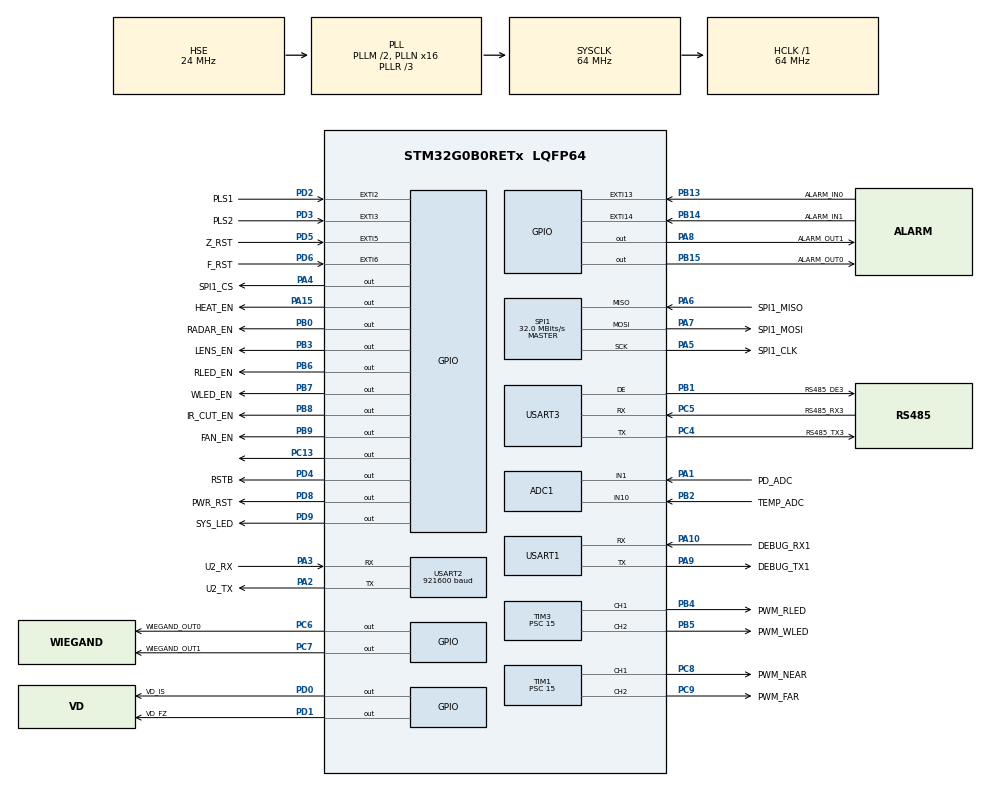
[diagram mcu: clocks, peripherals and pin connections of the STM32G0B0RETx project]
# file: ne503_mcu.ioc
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ADC1.Channel-0\#ChannelRegularConversion=ADC_CHANNEL_1
ADC1.Channel-1\#ChannelRegularConversion=ADC_CHANNEL_10
ADC1.ContinuousConvMode=ENABLE
ADC1.DMAContinuousRequests=ENABLE
ADC1.NbrOfConversion=2
ADC1.NbrOfConversionFlag=1
ADC1.Rank-0\#ChannelRegularConversion=1
ADC1.Rank-1\#ChannelRegularConversion=2
ADC1.SamplingTime-0\#ChannelRegularConversion=ADC_SAMPLINGTIME_COMMON_1
ADC1.SamplingTime-1\#ChannelRegularConversion=ADC_SAMPLINGTIME_COMMON_1
ADC1.SamplingTimeCommon1=ADC_SAMPLETIME_39CYCLES_5
ADC1.SamplingTimeCommon2=ADC_SAMPLETIME_39CYCLES_5
ADC1.SelectedChannel=ADC_CHANNEL_1|ADC_CHANNEL_10
ADC1.master=1
Dma.ADC1.8.Direction=DMA_PERIPH_TO_MEMORY
Dma.ADC1.8.EventEnable=DISABLE
Dma.ADC1.8.Instance=DMA2_Channel2
Dma.ADC1.8.MemDataAlignment=DMA_MDATAALIGN_HALFWORD
Dma.ADC1.8.MemInc=DMA_MINC_ENABLE
Dma.ADC1.8.Mode=DMA_NORMAL
Dma.ADC1.8.PeriphDataAlignment=DMA_PDATAALIGN_HALFWORD
Dma.ADC1.8.PeriphInc=DMA_PINC_DISABLE
Dma.ADC1.8.Polarity=HAL_DMAMUX_REQ_GEN_RISING
Dma.ADC1.8.Priority=DMA_PRIORITY_LOW
Dma.ADC1.8.RequestNumber=1
Dma.ADC1.8.SignalID=NONE
Dma.ADC1.8.SyncEnable=DISABLE
Dma.ADC1.8.SyncPolarity=HAL_DMAMUX_SYNC_NO_EVENT
Dma.ADC1.8.SyncRequestNumber=1
Dma.ADC1.8.SyncSignalID=NONE
Dma.Request0=USART2_RX
Dma.Request1=USART2_TX
Dma.Request2=USART3_RX
Dma.Request3=USART3_TX
Dma.Request4=USART1_RX
Dma.Request5=USART1_TX
Dma.Request6=SPI1_RX
Dma.Request7=SPI1_TX
Dma.Request8=ADC1
Dma.SPI1_RX.6.Direction=DMA_PERIPH_TO_MEMORY
Dma.SPI1_RX.6.EventEnable=DISABLE
Dma.SPI1_RX.6.Instance=DMA1_Channel7
Dma.SPI1_RX.6.MemDataAlignment=DMA_MDATAALIGN_BYTE
Dma.SPI1_RX.6.MemInc=DMA_MINC_ENABLE
Dma.SPI1_RX.6.Mode=DMA_NORMAL
Dma.SPI1_RX.6.PeriphDataAlignment=DMA_PDATAALIGN_BYTE
Dma.SPI1_RX.6.PeriphInc=DMA_PINC_DISABLE
Dma.SPI1_RX.6.Polarity=HAL_DMAMUX_REQ_GEN_RISING
Dma.SPI1_RX.6.Priority=DMA_PRIORITY_LOW
Dma.SPI1_RX.6.RequestNumber=1
Dma.SPI1_RX.6.SignalID=NONE
Dma.SPI1_RX.6.SyncEnable=DISABLE
Dma.SPI1_RX.6.SyncPolarity=HAL_DMAMUX_SYNC_NO_EVENT
Dma.SPI1_RX.6.SyncRequestNumber=1
Dma.SPI1_RX.6.SyncSignalID=NONE
Dma.SPI1_TX.7.Direction=DMA_MEMORY_TO_PERIPH
Dma.SPI1_TX.7.EventEnable=DISABLE
Dma.SPI1_TX.7.Instance=DMA2_Channel1
Dma.SPI1_TX.7.MemDataAlignment=DMA_MDATAALIGN_BYTE
Dma.SPI1_TX.7.MemInc=DMA_MINC_ENABLE
Dma.SPI1_TX.7.Mode=DMA_NORMAL
Dma.SPI1_TX.7.PeriphDataAlignment=DMA_PDATAALIGN_BYTE
Dma.SPI1_TX.7.PeriphInc=DMA_PINC_DISABLE
Dma.SPI1_TX.7.Polarity=HAL_DMAMUX_REQ_GEN_RISING
Dma.SPI1_TX.7.Priority=DMA_PRIORITY_LOW
Dma.SPI1_TX.7.RequestNumber=1
Dma.SPI1_TX.7.SignalID=NONE
Dma.SPI1_TX.7.SyncEnable=DISABLE
Dma.SPI1_TX.7.SyncPolarity=HAL_DMAMUX_SYNC_NO_EVENT
Dma.SPI1_TX.7.SyncRequestNumber=1
Dma.SPI1_TX.7.SyncSignalID=NONE
Dma.USART1_RX.4.Direction=DMA_PERIPH_TO_MEMORY
Dma.USART1_RX.4.EventEnable=DISABLE
Dma.USART1_RX.4.Instance=DMA1_Channel1
Dma.USART1_RX.4.MemDataAlignment=DMA_MDATAALIGN_BYTE
Dma.USART1_RX.4.MemInc=DMA_MINC_ENABLE
Dma.USART1_RX.4.Mode=DMA_CIRCULAR
Dma.USART1_RX.4.PeriphDataAlignment=DMA_PDATAALIGN_BYTE
Dma.USART1_RX.4.PeriphInc=DMA_PINC_DISABLE
Dma.USART1_RX.4.Polarity=HAL_DMAMUX_REQ_GEN_RISING
Dma.USART1_RX.4.Priority=DMA_PRIORITY_LOW
Dma.USART1_RX.4.RequestNumber=1
Dma.USART1_RX.4.SignalID=NONE
Dma.USART1_RX.4.SyncEnable=DISABLE
Dma.USART1_RX.4.SyncPolarity=HAL_DMAMUX_SYNC_NO_EVENT
Dma.USART1_RX.4.SyncRequestNumber=1
Dma.USART1_RX.4.SyncSignalID=NONE
Dma.USART1_TX.5.Direction=DMA_MEMORY_TO_PERIPH
Dma.USART1_TX.5.EventEnable=DISABLE
Dma.USART1_TX.5.Instance=DMA1_Channel2
Dma.USART1_TX.5.MemDataAlignment=DMA_MDATAALIGN_BYTE
Dma.USART1_TX.5.MemInc=DMA_MINC_ENABLE
Dma.USART1_TX.5.Mode=DMA_NORMAL
Dma.USART1_TX.5.PeriphDataAlignment=DMA_PDATAALIGN_BYTE
Dma.USART1_TX.5.PeriphInc=DMA_PINC_DISABLE
Dma.USART1_TX.5.Polarity=HAL_DMAMUX_REQ_GEN_RISING
Dma.USART1_TX.5.Priority=DMA_PRIORITY_LOW
Dma.USART1_TX.5.RequestNumber=1
Dma.USART1_TX.5.SignalID=NONE
Dma.USART1_TX.5.SyncEnable=DISABLE
Dma.USART1_TX.5.SyncPolarity=HAL_DMAMUX_SYNC_NO_EVENT
Dma.USART1_TX.5.SyncRequestNumber=1
Dma.USART1_TX.5.SyncSignalID=NONE
Dma.USART2_RX.0.Direction=DMA_PERIPH_TO_MEMORY
Dma.USART2_RX.0.EventEnable=DISABLE
Dma.USART2_RX.0.Instance=DMA1_Channel4
Dma.USART2_RX.0.MemDataAlignment=DMA_MDATAALIGN_BYTE
Dma.USART2_RX.0.MemInc=DMA_MINC_ENABLE
Dma.USART2_RX.0.Mode=DMA_CIRCULAR
Dma.USART2_RX.0.PeriphDataAlignment=DMA_PDATAALIGN_BYTE
Dma.USART2_RX.0.PeriphInc=DMA_PINC_DISABLE
Dma.USART2_RX.0.Polarity=HAL_DMAMUX_REQ_GEN_RISING
Dma.USART2_RX.0.Priority=DMA_PRIORITY_HIGH
Dma.USART2_RX.0.RequestNumber=1
Dma.USART2_RX.0.SignalID=NONE
Dma.USART2_RX.0.SyncEnable=DISABLE
Dma.USART2_RX.0.SyncPolarity=HAL_DMAMUX_SYNC_NO_EVENT
Dma.USART2_RX.0.SyncRequestNumber=1
Dma.USART2_RX.0.SyncSignalID=NONE
Dma.USART2_TX.1.Direction=DMA_MEMORY_TO_PERIPH
Dma.USART2_TX.1.EventEnable=DISABLE
Dma.USART2_TX.1.Instance=DMA1_Channel3
Dma.USART2_TX.1.MemDataAlignment=DMA_MDATAALIGN_BYTE
Dma.USART2_TX.1.MemInc=DMA_MINC_ENABLE
Dma.USART2_TX.1.Mode=DMA_NORMAL
Dma.USART2_TX.1.PeriphDataAlignment=DMA_PDATAALIGN_BYTE
Dma.USART2_TX.1.PeriphInc=DMA_PINC_DISABLE
Dma.USART2_TX.1.Polarity=HAL_DMAMUX_REQ_GEN_RISING
Dma.USART2_TX.1.Priority=DMA_PRIORITY_HIGH
Dma.USART2_TX.1.RequestNumber=1
Dma.USART2_TX.1.SignalID=NONE
Dma.USART2_TX.1.SyncEnable=DISABLE
Dma.USART2_TX.1.SyncPolarity=HAL_DMAMUX_SYNC_NO_EVENT
Dma.USART2_TX.1.SyncRequestNumber=1
Dma.USART2_TX.1.SyncSignalID=NONE
Dma.USART3_RX.2.Direction=DMA_PERIPH_TO_MEMORY
Dma.USART3_RX.2.EventEnable=DISABLE
Dma.USART3_RX.2.Instance=DMA1_Channel5
Dma.USART3_RX.2.MemDataAlignment=DMA_MDATAALIGN_BYTE
Dma.USART3_RX.2.MemInc=DMA_MINC_ENABLE
Dma.USART3_RX.2.Mode=DMA_NORMAL
Dma.USART3_RX.2.PeriphDataAlignment=DMA_PDATAALIGN_BYTE
Dma.USART3_RX.2.PeriphInc=DMA_PINC_DISABLE
Dma.USART3_RX.2.Polarity=HAL_DMAMUX_REQ_GEN_RISING
Dma.USART3_RX.2.Priority=DMA_PRIORITY_LOW
Dma.USART3_RX.2.RequestNumber=1
Dma.USART3_RX.2.SignalID=NONE
Dma.USART3_RX.2.SyncEnable=DISABLE
Dma.USART3_RX.2.SyncPolarity=HAL_DMAMUX_SYNC_NO_EVENT
Dma.USART3_RX.2.SyncRequestNumber=1
Dma.USART3_RX.2.SyncSignalID=NONE
Dma.USART3_TX.3.Direction=DMA_MEMORY_TO_PERIPH
Dma.USART3_TX.3.EventEnable=DISABLE
Dma.USART3_TX.3.Instance=DMA1_Channel6
Dma.USART3_TX.3.MemDataAlignment=DMA_MDATAALIGN_BYTE
Dma.USART3_TX.3.MemInc=DMA_MINC_ENABLE
Dma.USART3_TX.3.Mode=DMA_NORMAL
Dma.USART3_TX.3.PeriphDataAlignment=DMA_PDATAALIGN_BYTE
Dma.USART3_TX.3.PeriphInc=DMA_PINC_DISABLE
Dma.USART3_TX.3.Polarity=HAL_DMAMUX_REQ_GEN_RISING
Dma.USART3_TX.3.Priority=DMA_PRIORITY_LOW
Dma.USART3_TX.3.RequestNumber=1
Dma.USART3_TX.3.SignalID=NONE
Dma.USART3_TX.3.SyncEnable=DISABLE
Dma.USART3_TX.3.SyncPolarity=HAL_DMAMUX_SYNC_NO_EVENT
Dma.USART3_TX.3.SyncRequestNumber=1
Dma.USART3_TX.3.SyncSignalID=NONE
FREERTOS.Tasks01=initTask,24,256,StartDefaultTask,Default,NULL,Dynamic,NULL,NULL
FREERTOS.configCHECK_FOR_STACK_OVERFLOW=2
FREERTOS.configTOTAL_HEAP_SIZE=98304
FREERTOS.configUSE_IDLE_HOOK=1
FREERTOS.configUSE_MALLOC_FAILED_HOOK=1
FREERTOS.configUSE_NEWLIB_REENTRANT=1
IWDG.Prescaler=IWDG_PRESCALER_32
IWDG.Reload=3000
IWDG.Window=3000
Mcu.Family=STM32G0
Mcu.Name=STM32G0B0RETx
Mcu.Package=LQFP64
NVIC.ADC1_IRQn=true\:3\:0\:false\:false\:true\:true\:true\:true\:true
NVIC.DMA1_Ch4_7_DMA2_Ch1_5_DMAMUX1_OVR_IRQn=true\:3\:0\:false\:false\:true\:true\:false\:true\:true
NVIC.DMA1_Channel1_IRQn=true\:3\:0\:false\:false\:true\:true\:false\:true\:true
NVIC.DMA1_Channel2_3_IRQn=true\:3\:0\:false\:false\:true\:true\:false\:true\:true
NVIC.EXTI2_3_IRQn=true\:3\:0\:false\:false\:true\:true\:true\:true\:true
NVIC.EXTI4_15_IRQn=true\:3\:0\:false\:false\:true\:true\:true\:true\:true
NVIC.SPI1_IRQn=true\:3\:0\:false\:false\:true\:true\:true\:true\:true
NVIC.TIM17_IRQn=true\:3\:0\:false\:false\:true\:false\:false\:true\:true
NVIC.TimeBase=TIM17_IRQn
NVIC.TimeBaseIP=TIM17
NVIC.USART1_IRQn=true\:3\:0\:false\:false\:true\:true\:true\:true\:true
NVIC.USART2_IRQn=true\:3\:0\:false\:false\:true\:true\:true\:true\:true
NVIC.USART3_4_5_6_IRQn=true\:3\:0\:false\:false\:true\:true\:true\:true\:true
PA1.GPIO_Label=PD_ADC
PA1.Mode=IN1
PA1.Signal=ADC1_IN1
PA10.GPIO_Label=DEBUG_RX1
PA10.GPIO_Speed=GPIO_SPEED_FREQ_VERY_HIGH
PA10.Mode=Asynchronous
PA10.Signal=USART1_RX
PA13.Mode=Serial_Wire
PA13.Signal=SYS_SWDIO
PA14-BOOT0.Mode=Serial_Wire
PA14-BOOT0.Signal=SYS_SWCLK
PA15.GPIO_Label=HEAT_EN
PA15.GPIO_PuPd=GPIO_PULLDOWN
PA15.GPIO_Speed=GPIO_SPEED_FREQ_VERY_HIGH
PA15.Signal=GPIO_Output
PA2.GPIO_Label=U2_TX
PA2.GPIO_Speed=GPIO_SPEED_FREQ_VERY_HIGH
PA2.Mode=Asynchronous
PA2.Signal=USART2_TX
PA3.GPIO_Label=U2_RX
PA3.GPIO_Speed=GPIO_SPEED_FREQ_VERY_HIGH
PA3.Mode=Asynchronous
PA3.Signal=USART2_RX
PA4.GPIO_Label=SPI1_CS
PA4.GPIO_ModeDefaultOutputPP=GPIO_MODE_OUTPUT_PP
PA4.GPIO_Speed=GPIO_SPEED_FREQ_VERY_HIGH
PA4.Signal=GPIO_Output
PA5.GPIO_Label=SPI1_CLK
PA5.GPIO_Speed=GPIO_SPEED_FREQ_VERY_HIGH
PA5.Mode=Full_Duplex_Master
PA5.Signal=SPI1_SCK
PA6.GPIO_Label=SPI1_MISO
PA6.GPIO_Speed=GPIO_SPEED_FREQ_VERY_HIGH
PA6.Mode=Full_Duplex_Master
PA6.Signal=SPI1_MISO
PA7.GPIO_Label=SPI1_MOSI
PA7.GPIO_Speed=GPIO_SPEED_FREQ_VERY_HIGH
PA7.Mode=Full_Duplex_Master
PA7.Signal=SPI1_MOSI
PA8.GPIO_Label=ALARM_OUT1
PA8.GPIO_Speed=GPIO_SPEED_FREQ_VERY_HIGH
PA8.Signal=GPIO_Output
PA9.GPIO_Label=DEBUG_TX1
PA9.GPIO_Speed=GPIO_SPEED_FREQ_VERY_HIGH
PA9.Mode=Asynchronous
PA9.Signal=USART1_TX
PB0.GPIO_Label=RADAR_EN
PB0.GPIO_PuPd=GPIO_PULLDOWN
PB0.GPIO_Speed=GPIO_SPEED_FREQ_VERY_HIGH
PB0.PinState=GPIO_PIN_RESET
PB0.Signal=GPIO_Output
PB1.GPIO_Label=RS485_DE3
PB1.GPIO_Speed=GPIO_SPEED_FREQ_VERY_HIGH
PB1.Mode=Hardware Flow Control (RS485)
PB1.Signal=USART3_DE
PB13.GPIO_Label=ALARM_IN0
PB13.GPIO_ModeDefaultEXTI=GPIO_MODE_IT_RISING_FALLING
PB13.GPIO_PuPd=GPIO_PULLUP
PB13.Signal=GPXTI13
PB14.GPIO_Label=ALARM_IN1
PB14.GPIO_ModeDefaultEXTI=GPIO_MODE_IT_RISING_FALLING
PB14.GPIO_PuPd=GPIO_PULLUP
PB14.Signal=GPXTI14
PB15.GPIO_Label=ALARM_OUT0
PB15.Signal=GPIO_Output
PB2.GPIO_Label=TEMP_ADC
PB2.Mode=IN10
PB2.Signal=ADC1_IN10
PB3.GPIO_Label=LENS_EN
PB3.GPIO_PuPd=GPIO_PULLUP
PB3.GPIO_Speed=GPIO_SPEED_FREQ_VERY_HIGH
PB3.PinState=GPIO_PIN_SET
PB3.Signal=GPIO_Output
PB4.GPIO_Label=PWM_RLED
PB4.GPIO_Speed=GPIO_SPEED_FREQ_VERY_HIGH
PB4.Signal=S_TIM3_CH1
PB5.GPIO_Label=PWM_WLED
PB5.GPIO_Speed=GPIO_SPEED_FREQ_VERY_HIGH
PB5.Signal=S_TIM3_CH2
PB6.GPIO_FM6=SYSCFG_FASTMODEPLUS_PB6
PB6.GPIO_Label=RLED_EN
PB6.GPIO_PuPd=GPIO_PULLDOWN
PB6.GPIO_Speed=GPIO_SPEED_FREQ_VERY_HIGH
PB6.Signal=GPIO_Output
PB7.GPIO_FM7=SYSCFG_FASTMODEPLUS_PB7
PB7.GPIO_Label=WLED_EN
PB7.GPIO_PuPd=GPIO_PULLDOWN
PB7.GPIO_Speed=GPIO_SPEED_FREQ_VERY_HIGH
PB7.Signal=GPIO_Output
PB8.GPIO_FM8=SYSCFG_FASTMODEPLUS_PB8
PB8.GPIO_Label=IR_CUT_EN
PB8.GPIO_PuPd=GPIO_PULLUP
PB8.GPIO_Speed=GPIO_SPEED_FREQ_VERY_HIGH
PB8.PinState=GPIO_PIN_SET
PB8.Signal=GPIO_Output
PB9.GPIO_FM9=SYSCFG_FASTMODEPLUS_PB9
PB9.GPIO_Label=FAN_EN
PB9.GPIO_PuPd=GPIO_PULLDOWN
PB9.GPIO_Speed=GPIO_SPEED_FREQ_VERY_HIGH
PB9.Signal=GPIO_Output
PC13.Signal=GPIO_Output
PC14-OSC32_IN\ (PC14).Mode=LSE-External-Oscillator
PC14-OSC32_IN\ (PC14).Signal=RCC_OSC32_IN
PC15-OSC32_OUT\ (PC15).Mode=LSE-External-Oscillator
PC15-OSC32_OUT\ (PC15).Signal=RCC_OSC32_OUT
PC4.GPIO_Label=RS485_TX3
PC4.GPIO_Speed=GPIO_SPEED_FREQ_VERY_HIGH
PC4.Mode=Asynchronous
PC4.Signal=USART3_TX
PC5.GPIO_Label=RS485_RX3
PC5.GPIO_Speed=GPIO_SPEED_FREQ_VERY_HIGH
PC5.Mode=Asynchronous
PC5.Signal=USART3_RX
PC6.GPIO_Label=WIEGAND_OUT0
PC6.GPIO_Speed=GPIO_SPEED_FREQ_VERY_HIGH
PC6.Signal=GPIO_Output
PC7.GPIO_Label=WIEGAND_OUT1
PC7.GPIO_Speed=GPIO_SPEED_FREQ_VERY_HIGH
PC7.Signal=GPIO_Output
PC8.GPIO_Label=PWM_NEAR
PC8.GPIO_Speed=GPIO_SPEED_FREQ_VERY_HIGH
PC8.Signal=S_TIM1_CH1
PC9.GPIO_Label=PWM_FAR
PC9.GPIO_Speed=GPIO_SPEED_FREQ_VERY_HIGH
PC9.Signal=S_TIM1_CH2
PD0.GPIO_Label=VD_IS
PD0.GPIO_Speed=GPIO_SPEED_FREQ_VERY_HIGH
PD0.Signal=GPIO_Output
PD1.GPIO_Label=VD_FZ
PD1.GPIO_Speed=GPIO_SPEED_FREQ_VERY_HIGH
PD1.Signal=GPIO_Output
PD2.GPIO_Label=PLS1
PD2.GPIO_ModeDefaultEXTI=GPIO_MODE_IT_FALLING
PD2.GPIO_PuPd=GPIO_PULLUP
PD2.Signal=GPXTI2
PD3.GPIO_Label=PLS2
PD3.GPIO_ModeDefaultEXTI=GPIO_MODE_IT_FALLING
PD3.GPIO_PuPd=GPIO_PULLUP
PD3.Signal=GPXTI3
PD4.GPIO_Label=RSTB
PD4.GPIO_Speed=GPIO_SPEED_FREQ_VERY_HIGH
PD4.PinState=GPIO_PIN_SET
PD4.Signal=GPIO_Output
PD5.GPIO_Label=Z_RST
PD5.GPIO_ModeDefaultEXTI=GPIO_MODE_IT_FALLING
PD5.GPIO_PuPd=GPIO_PULLUP
PD5.Signal=GPXTI5
PD6.GPIO_Label=F_RST
PD6.GPIO_ModeDefaultEXTI=GPIO_MODE_IT_FALLING
PD6.GPIO_PuPd=GPIO_PULLUP
PD6.Signal=GPXTI6
PD8.GPIO_Label=PWR_RST
PD8.GPIO_PuPd=GPIO_NOPULL
PD8.GPIO_Speed=GPIO_SPEED_FREQ_VERY_HIGH
PD8.Signal=GPIO_Output
PD9.GPIO_Label=SYS_LED
PD9.GPIO_Speed=GPIO_SPEED_FREQ_VERY_HIGH
PD9.Signal=GPIO_Output
PF0-OSC_IN\ (PF0).Mode=HSE-External-Oscillator
PF0-OSC_IN\ (PF0).Signal=RCC_OSC_IN
PF1-OSC_OUT\ (PF1).Mode=HSE-External-Oscillator
PF1-OSC_OUT\ (PF1).Signal=RCC_OSC_OUT
ProjectManager.HeapSize=0x400
ProjectManager.StackSize=0x800
ProjectManager.TargetToolchain=STM32CubeIDE
RCC.ADCFreq_Value=64000000
RCC.AHBFreq_Value=64000000
RCC.CortexFreq_Value=64000000
RCC.EXTERNAL_CLOCK_VALUE=48000
RCC.HCLKFreq_Value=64000000
RCC.HSE_VALUE=24000000
RCC.HSI_VALUE=16000000
RCC.PLLM=RCC_PLLM_DIV2
RCC.PLLN=16
RCC.PLLR=RCC_PLLR_DIV3
RCC.PLLSourceVirtual=RCC_PLLSOURCE_HSE
RCC.RTCClockSelection=RCC_RTCCLKSOURCE_LSE
RCC.SYSCLKFreq_VALUE=64000000
RCC.SYSCLKSource=RCC_SYSCLKSOURCE_PLLCLK
RCC.USBFreq_Value=96000000
RCC.VCOOutputFreq_Value=192000000
RTC.Date=2
RTC.DayLightSaving=RTC_DAYLIGHTSAVING_NONE
RTC.Format=RTC_FORMAT_BCD
RTC.Hours=0
RTC.Minutes=0
RTC.Month=RTC_MONTH_MARCH
RTC.StoreOperation=RTC_STOREOPERATION_RESET
RTC.Year=26
SH.S_TIM1_CH1.0=TIM1_CH1,PWM Generation1 CH1
SH.S_TIM1_CH2.0=TIM1_CH2,PWM Generation2 CH2
SH.S_TIM3_CH1.0=TIM3_CH1,PWM Generation1 CH1
SH.S_TIM3_CH2.0=TIM3_CH2,PWM Generation2 CH2
SPI1.BaudRatePrescaler=SPI_BAUDRATEPRESCALER_2
SPI1.CLKPhase=SPI_PHASE_2EDGE
SPI1.CLKPolarity=SPI_POLARITY_HIGH
SPI1.CalculateBaudRate=32.0 MBits/s
SPI1.DataSize=SPI_DATASIZE_8BIT
SPI1.Direction=SPI_DIRECTION_2LINES
SPI1.FirstBit=SPI_FIRSTBIT_LSB
SPI1.Mode=SPI_MODE_MASTER
SPI1.VirtualType=VM_MASTER
TIM1.AutoReloadPreload=TIM_AUTORELOAD_PRELOAD_ENABLE
TIM1.Channel-PWM\ Generation1\ CH1=TIM_CHANNEL_1
TIM1.Channel-PWM\ Generation2\ CH2=TIM_CHANNEL_2
TIM1.OCFastMode_PWM-PWM\ Generation1\ CH1=TIM_OCFAST_ENABLE
TIM1.OCFastMode_PWM-PWM\ Generation2\ CH2=TIM_OCFAST_ENABLE
TIM1.Period=199
TIM1.Prescaler=15
TIM3.Channel-PWM\ Generation1\ CH1=TIM_CHANNEL_1
TIM3.Channel-PWM\ Generation2\ CH2=TIM_CHANNEL_2
TIM3.OC2Preload_PWM=ENABLE
TIM3.OCFastMode_PWM-PWM\ Generation1\ CH1=TIM_OCFAST_ENABLE
TIM3.OCFastMode_PWM-PWM\ Generation2\ CH2=TIM_OCFAST_ENABLE
TIM3.Period=199
TIM3.Prescaler=15
USART1.VirtualMode-Asynchronous=VM_ASYNC
USART2.BaudRate=921600
USART2.VirtualMode-Asynchronous=VM_ASYNC
USART3.VirtualMode-Asynchronous=VM_ASYNC
USART3.VirtualMode-Hardware\ Flow\ Control\ (RS485)=VM_ASYNC
VP_CRC_VS_CRC.Mode=CRC_Activate
VP_FREERTOS_VS_CMSIS_V2.Mode=CMSIS_V2
VP_IWDG_VS_IWDG.Mode=IWDG_Activate
VP_RTC_VS_RTC_Activate.Mode=RTC_Enabled
VP_RTC_VS_RTC_Calendar.Mode=RTC_Calendar
VP_SYS_VS_DBSignals.Mode=DisableDeadBatterySignals
VP_SYS_VS_tim17.Mode=TIM17
board=custom

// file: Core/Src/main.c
/* USER CODE BEGIN Header */
/**
  ******************************************************************************
  * @file           : main.c
  * @brief          : Main program body
  ******************************************************************************
  * @attention
  *
  * Copyright (c) 2026 STMicroelectronics.
  * All rights reserved.
  *
  * This software is licensed under terms that can be found in the LICENSE file
  * in the root directory of this software component.
  * If no LICENSE file comes with this software, it is provided AS-IS.
  *
  ******************************************************************************
  */
/* USER CODE END Header */
#include "main.h"
#include "cmsis_os.h"
#include "adc.h"
#include "crc.h"
#include "dma.h"
#include "iwdg.h"
#include "rtc.h"
#include "spi.h"
#include "tim.h"
#include "usart.h"
#include "gpio.h"

/* USER CODE BEGIN Includes */
#include <stdio.h>
/* USER CODE END Includes */

void SystemClock_Config(void);
void MX_FREERTOS_Init(void);

/* USER CODE BEGIN 0 */
#ifdef __GNUC__
#define PUTCHAR_PROTOTYPE int __io_putchar(int ch)
#else
#define PUTCHAR_PROTOTYPE int fputc(int ch, FILE *f)
#endif
PUTCHAR_PROTOTYPE
{
	HAL_UART_Transmit(&huart1, (uint8_t *)&ch, 1, 10);
	return ch;
}
/* USER CODE END 0 */

int main(void)
{

  /* USER CODE BEGIN 1 */
  HAL_DeInit();
  HAL_RCC_DeInit();
  __enable_irq();
  /* USER CODE END 1 */

  /* MCU Configuration--------------------------------------------------------*/

  /* Reset of all peripherals, Initializes the Flash interface and the Systick. */
  HAL_Init();

  /* Configure the system clock */
  SystemClock_Config();

  /* Initialize all configured peripherals */
  MX_GPIO_Init();
  MX_DMA_Init();
  MX_ADC1_Init();
  MX_IWDG_Init();
  MX_RTC_Init();
  MX_SPI1_Init();
  MX_TIM1_Init();
  MX_TIM3_Init();
  MX_USART1_UART_Init();
  MX_USART2_UART_Init();
  MX_USART3_UART_Init();
  MX_CRC_Init();

  /* Init scheduler */
  osKernelInitialize();  /* Call init function for freertos objects (in cmsis_os2.c) */
  MX_FREERTOS_Init();

  /* Start scheduler */
  osKernelStart();

  /* We should never get here as control is now taken by the scheduler */

  /* Infinite loop */
  while (1)
  {

  }
}

void SystemClock_Config(void)
{
  RCC_OscInitTypeDef RCC_OscInitStruct = {0};
  RCC_ClkInitTypeDef RCC_ClkInitStruct = {0};

  /** Configure the main internal regulator output voltage
  */
  HAL_PWREx_ControlVoltageScaling(PWR_REGULATOR_VOLTAGE_SCALE1);

  /** Configure LSE Drive Capability
  */
  HAL_PWR_EnableBkUpAccess();
  __HAL_RCC_LSEDRIVE_CONFIG(RCC_LSEDRIVE_LOW);

  /** Initializes the RCC Oscillators according to the specified parameters
  * in the RCC_OscInitTypeDef structure.
  */
  RCC_OscInitStruct.OscillatorType = RCC_OSCILLATORTYPE_LSI|RCC_OSCILLATORTYPE_HSE
                              |RCC_OSCILLATORTYPE_LSE;
  RCC_OscInitStruct.HSEState = RCC_HSE_ON;
  RCC_OscInitStruct.LSEState = RCC_LSE_ON;
  RCC_OscInitStruct.LSIState = RCC_LSI_ON;
  RCC_OscInitStruct.PLL.PLLState = RCC_PLL_ON;
  RCC_OscInitStruct.PLL.PLLSource = RCC_PLLSOURCE_HSE;
  RCC_OscInitStruct.PLL.PLLM = RCC_PLLM_DIV2;
  RCC_OscInitStruct.PLL.PLLN = 16;
  RCC_OscInitStruct.PLL.PLLP = RCC_PLLP_DIV2;
  RCC_OscInitStruct.PLL.PLLQ = RCC_PLLQ_DIV2;
  RCC_OscInitStruct.PLL.PLLR = RCC_PLLR_DIV3;
  if (HAL_RCC_OscConfig(&RCC_OscInitStruct) != HAL_OK)
  {
    Error_Handler();
  }

  /** Initializes the CPU, AHB and APB buses clocks
  */
  RCC_ClkInitStruct.ClockType = RCC_CLOCKTYPE_HCLK|RCC_CLOCKTYPE_SYSCLK
                              |RCC_CLOCKTYPE_PCLK1;
  RCC_ClkInitStruct.SYSCLKSource = RCC_SYSCLKSOURCE_PLLCLK;
  RCC_ClkInitStruct.AHBCLKDivider = RCC_SYSCLK_DIV1;
  RCC_ClkInitStruct.APB1CLKDivider = RCC_HCLK_DIV1;

  if (HAL_RCC_ClockConfig(&RCC_ClkInitStruct, FLASH_LATENCY_2) != HAL_OK)
  {
    Error_Handler();
  }
}

void HAL_TIM_PeriodElapsedCallback(TIM_HandleTypeDef *htim)
{
  if (htim->Instance == TIM17)
  {
    HAL_IncTick();
  }
}

void Error_Handler(void)
{
  __disable_irq();
  while (1)
  {
  }
}

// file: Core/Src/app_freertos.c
/* USER CODE BEGIN Header */
/**
  ******************************************************************************
  * File Name          : app_freertos.c
  * Description        : Code for freertos applications
  ******************************************************************************
  * @attention
  *
  * Copyright (c) 2026 STMicroelectronics.
  * All rights reserved.
  *
  * This software is licensed under terms that can be found in the LICENSE file
  * in the root directory of this software component.
  * If no LICENSE file comes with this software, it is provided AS-IS.
  *
  ******************************************************************************
  */
/* USER CODE END Header */

#include "FreeRTOS.h"
#include "task.h"
#include "main.h"
#include "cmsis_os.h"

/* USER CODE BEGIN Includes */
#include <stdio.h>
#include "iwdg.h"
/* USER CODE END Includes */

/* Definitions for initTask */
osThreadId_t initTaskHandle;
const osThreadAttr_t initTask_attributes = {
  .name = "initTask",
  .priority = (osPriority_t) osPriorityNormal,
  .stack_size = 256 * 4
};

/* USER CODE BEGIN FunctionPrototypes */
extern void app_init(void);
/* USER CODE END FunctionPrototypes */

void StartDefaultTask(void *argument);

void MX_FREERTOS_Init(void); /* (MISRA C 2004 rule 8.1) */

/* Hook prototypes */
void vApplicationIdleHook(void);
void vApplicationStackOverflowHook(xTaskHandle xTask, signed char *pcTaskName);
void vApplicationMallocFailedHook(void);

/* USER CODE BEGIN 2 */
void vApplicationIdleHook( void )
{
   /* vApplicationIdleHook() will only be called if configUSE_IDLE_HOOK is set
   to 1 in FreeRTOSConfig.h. It will be called on each iteration of the idle
   task. It is essential that code added to this hook function never attempts
   to block in any way (for example, call xQueueReceive() with a block time
   specified, or call vTaskDelay()). If the application makes use of the
   vTaskDelete() API function (as this demo application does) then it is also
   important that vApplicationIdleHook() is permitted to return to its calling
   function, because it is the responsibility of the idle task to clean up
   memory allocated by the kernel to any task that has since been deleted. */
   HAL_IWDG_Refresh(&hiwdg);
}
/* USER CODE END 2 */

/* USER CODE BEGIN 4 */
void vApplicationStackOverflowHook(xTaskHandle xTask, signed char *pcTaskName)
{
   /* Run time stack overflow checking is performed if
   configCHECK_FOR_STACK_OVERFLOW is defined to 1 or 2. This hook function is
   called if a stack overflow is detected. */
}
/* USER CODE END 4 */

/* USER CODE BEGIN 5 */
void vApplicationMallocFailedHook(void)
{
   /* vApplicationMallocFailedHook() will only be called if
   configUSE_MALLOC_FAILED_HOOK is set to 1 in FreeRTOSConfig.h. It is a hook
   function that will get called if a call to pvPortMalloc() fails.
   pvPortMalloc() is called internally by the kernel whenever a task, queue,
   timer or semaphore is created. It is also called by various parts of the
   demo application. If heap_1.c or heap_2.c are used, then the size of the
   heap available to pvPortMalloc() is defined by configTOTAL_HEAP_SIZE in
   FreeRTOSConfig.h, and the xPortGetFreeHeapSize() API function can be used
   to query the size of free heap space that remains (although it does not
   provide information on how the remaining heap might be fragmented). */
}
/* USER CODE END 5 */

void MX_FREERTOS_Init(void) {

  /* Create the thread(s) */
  /* creation of initTask */
  initTaskHandle = osThreadNew(StartDefaultTask, NULL, &initTask_attributes);

}

void StartDefaultTask(void *argument)
{
  /* USER CODE BEGIN StartDefaultTask */
  /* Infinite loop */
  app_init();
  vTaskDelete(NULL);
  /* USER CODE END StartDefaultTask */
}
